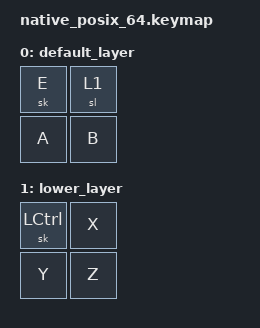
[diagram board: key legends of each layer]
#include <dt-bindings/zmk/keys.h>
#include <behaviors.dtsi>
#include <dt-bindings/zmk/kscan_mock.h>
#include "../behavior_keymap.dtsi"

/* This test ensures that sticky keys are deactivated immediately upon
 * release after being held for longer than `no-sticky-after-hold-ms`.
 */

&sk {
    no-sticky-after-hold-ms = <200>;
};

&sl {
    no-sticky-after-hold-ms = <200>;
};

/ {
    keymap {
        compatible = "zmk,keymap";
        label ="Default keymap";

        default_layer {
            bindings = <
                &sk E &sl 1
                &kp A &kp B>;
        };

        lower_layer {
            bindings = <
                &sk LEFT_CONTROL &kp X
                &kp Y  &kp Z>;
        };
    };
};

&kscan {
    events = <
        // Hold &sk E past no-sticky-after-hold-ms
        ZMK_MOCK_PRESS(0,0,400)
        // Release &sk E
        ZMK_MOCK_RELEASE(0,0,10)
        // &sk E should now be deactivated
        // Tap &kp A right after
        ZMK_MOCK_PRESS(1,0,10)
        ZMK_MOCK_RELEASE(1,0,10)

        // Hold &sl 1 past no-sticky-after-hold-ms
        ZMK_MOCK_PRESS(0,1,400)
        // Release &sl 1
        ZMK_MOCK_RELEASE(0,1,10)
        // &sl 1 should now be deactivated
        // Tap &kp A right after
        ZMK_MOCK_PRESS(1,0,10)
        ZMK_MOCK_RELEASE(1,0,10)
    >;
};
